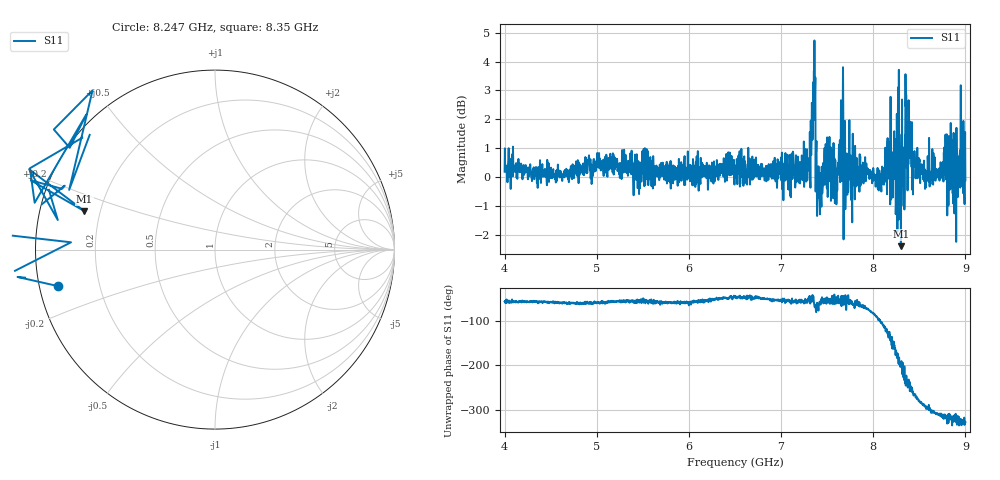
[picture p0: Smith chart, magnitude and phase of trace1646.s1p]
! Created with skrf 1.8.0 (http://scikit-rf.org).
# Hz S RI R 50.0
!freq ReS11 ImS11
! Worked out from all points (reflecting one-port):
!   1601 points, 4 GHz to 9 GHz, reference 50 ohm
!   lowest |S11| = -2.4 dB at 8.3 GHz (marker M1), VSWR 7.28, Z = 7.01 + j7.07 ohm
!   phase of S11 starts at -57 deg and turns -270 deg over the sweep
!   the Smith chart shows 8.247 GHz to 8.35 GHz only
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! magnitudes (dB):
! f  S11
! 4 GHz  0.2
! 4.625 GHz  -0.1
! 5.25 GHz  0.0
! 5.875 GHz  0.0
! 6.5 GHz  0.0
! 7.125 GHz  -0.1
! 7.294 GHz  0.5
! 7.347 GHz  3.3
! 7.359 GHz  2.6
! 7.4 GHz  0.1
! 7.412 GHz  -0.7
! 7.525 GHz  1.4
! 7.609 GHz  -0.5
! 7.65 GHz  2.7
! 7.703 GHz  0.1
! 7.75 GHz  0.0
! 8.081 GHz  -0.2
! 8.253 GHz  0.6
! 8.3 GHz  -2.4
! 8.316 GHz  -0.3
! 8.334 GHz  1.0
! 8.375 GHz  1.0
! 8.447 GHz  0.9
! 8.556 GHz  -0.2
! 8.775 GHz  0.4
! 8.9 GHz  -2.3
! 8.959 GHz  1.9
! 9 GHz  -0.1
